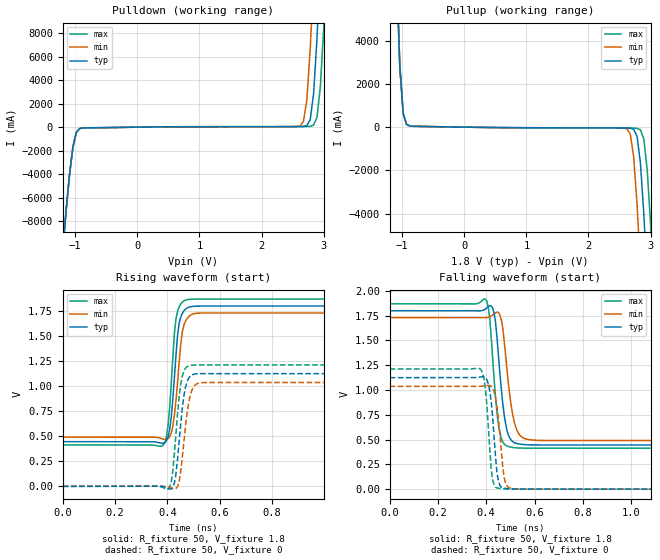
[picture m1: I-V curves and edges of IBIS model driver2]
| IBIS file invchain_weak_probe.ibs created by PYS2IBIS3
| Missouri S&T EMC Lab
[IBIS Ver] 7.1
[File Name] invchain_weak_probe.ibs
[File Rev] 1.0
[Date] Jul 27, 2026
[Source] inv_chain variant 'weak' -- half drive at every stage
[Notes] Observation pass for parameter selection.
[Component] invchain
[Manufacturer] s2ibispy study
[Package]
| variable   typ   min   max
R_pkg 0 NA NA
L_pkg 0H NA NA
C_pkg 0F NA NA
[Pin]  signal_name   model_name   R_pin   L_pin   C_pin
VSSQ   VSSQ   Gnd
VCCQ   VCCQ   Power
| IN IN dummy
PAD   PAD   driver2
| End of Component
| Models and submodels in the file (1): driver2 (Output)
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[Model] driver2
Model_type Output
Polarity Non-Inverting
Enable Active-High
Vinl  = 0.8V
Vinh  = 2V
C_comp 0.4680pF NA NA
[Temperature Range] 27.0000 27.0000 27.0000
[Voltage Range] 1.8000V 1.7000V 1.9000V
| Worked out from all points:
|   slope of the pulldown table from 0 to 0.27 V, typ, clamps not added: 14.1 ohm
|   slope of the pullup table from 0 to 0.27 V, typ, clamps not added: 24.6 ohm
|   rising waveform, R_fixture 50, V_fixture 1.8: 20-80 % time 24.3ps typ, 26.2ps min, 23.1ps max; typ from 0.446 V to 1.8 V
|   rising waveform, R_fixture 50, V_fixture 0: 20-80 % time 25.8ps typ, 27.5ps min, 24.8ps max; typ from 0 V to 1.12 V
|   falling waveform, R_fixture 50, V_fixture 1.8: 20-80 % time 31.9ps typ, 35.8ps min, 28.7ps max; typ from 1.8 V to 0.446 V
|   falling waveform, R_fixture 50, V_fixture 0: 20-80 % time 22.7ps typ, 24.9ps min, 21.2ps max; typ from 1.12 V to 0 V
[Pulldown]
| Voltage   I(typ)   I(min)   I(max)
-1.8V     -50.22A    -50.22A    -50.22A
-1.2V     -10.44A    -10.44A    -10.44A
-1.036V   -1.67A     -1.668A    -1.672A
-927.3mV  -121.6mA   -118.9mA   -124mA
2.618V    48.73mA    103.1mA    49.35mA
2.727V    131.8mA    2.281A     54.59mA
2.782V    631.5mA    6.58A      69.15mA
2.836V    2.833A     12.65A     170.1mA
2.891V    7.503A     19.29A     839.8mA
2.946V    13.76A     25.94A     3.459A
3V        20.41A     32.59A     8.47A
3.6V      93.55A     105.7A     81.36A
[Pullup]
| Voltage   I(typ)   I(min)   I(max)
-1.8V     93.5A      93.5A      93.5A
-1.091V   7.473A     7.472A     7.473A
-981.8mV  621.2mA    620.4mA    621.9mA
-872.7mV  52.26mA    51.37mA    53.06mA
2.618V    -40.01mA   -79.32mA   -40.56mA
2.727V    -99.7mA    -1.375A    -44.4mA
2.782V    -427.1mA   -3.579A    -55.14mA
2.836V    -1.672A    -6.535A    -126.4mA
2.891V    -4.036A    -9.883A    -555.7mA
2.946V    -7.076A    -13.45A    -2.002A
3V        -10.47A    -17.07A    -4.511A
3.6V      -50.25A    -56.88A    -43.62A
[Ramp]
| variable   typ   min   max
dV/dt_r 0.6750/0.02544n 0.6222/0.02726n 0.7272/0.02369n
dV/dt_f 0.8123/0.03134n 0.7501/0.0341n 0.8728/0.02905n
R_load = 50
[Rising Waveform]
R_fixture = 50
V_fixture = 1.8
|time   V(typ)   V(min)   V(max)
0s        446.2mV    490.9mV    413.3mV
384.4ps   430.3mV    472.1mV    412.4mV
396.4ps   456.1mV    469.1mV    500.3mV
408.4ps   568.8mV    496.8mV    789.5mV
426.4ps   1.08V      710.8mV    1.526V
432.4ps   1.309V     855mV      1.672V
444.4ps   1.626V     1.231V     1.79V
456.5ps   1.726V     1.541V     1.839V
486.5ps   1.793V     1.706V     1.868V
6ns       1.8V       1.731V     1.87V
[Rising Waveform]
R_fixture = 50
V_fixture = 0
|time   V(typ)   V(min)   V(max)
0s        17.4nV     16.96nV    17.93nV
402.4ps   -22.13mV   -6.395mV   -25.11mV
414.4ps   -25.85mV   -18.62mV   42.34mV
426.4ps   32.94mV    -27.93mV   327.7mV
444.4ps   444.1mV    45.29mV    888.3mV
456.5ps   778.3mV    285.7mV    1.098V
468.5ps   986.7mV    592.1mV    1.179V
480.5ps   1.078V     828.3mV    1.203V
498.5ps   1.117V     988.7mV    1.211V
6ns       1.125V     1.037V     1.212V
[Falling Waveform]
R_fixture = 50
V_fixture = 1.8
|time   V(typ)   V(min)   V(max)
0s        1.8V       1.731V     1.87V
396.4ps   1.817V     1.729V     1.917V
414.4ps   1.851V     1.738V     1.73V
432.4ps   1.778V     1.768V     1.118V
456.5ps   1.171V     1.758V     568.2mV
480.5ps   657.7mV    1.342V     443.6mV
516.5ps   469.7mV    675.9mV    418.5mV
546.5ps   451.9mV    527.9mV    414.3mV
630.6ps   446.1mV    491.3mV    413.2mV
6ns       446.2mV    490.9mV    413.3mV
[Falling Waveform]
R_fixture = 50
V_fixture = 0
|time   V(typ)   V(min)   V(max)
0s        1.125V     1.037V     1.212V
378.4ps   1.133V     1.038V     1.206V
396.4ps   1.125V     1.044V     1.012V
414.4ps   995.7mV    1.046V     406.4mV
426.4ps   731.2mV    1.02V      96.25mV
444.4ps   167.3mV    834mV      13.02mV
468.5ps   12.72mV    227.6mV    4.173mV
486.5ps   5.441mV    30.37mV    1.678mV
552.6ps   189.3uV    912.2uV    23.92uV
6ns       17.4nV     16.96nV    17.93nV
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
